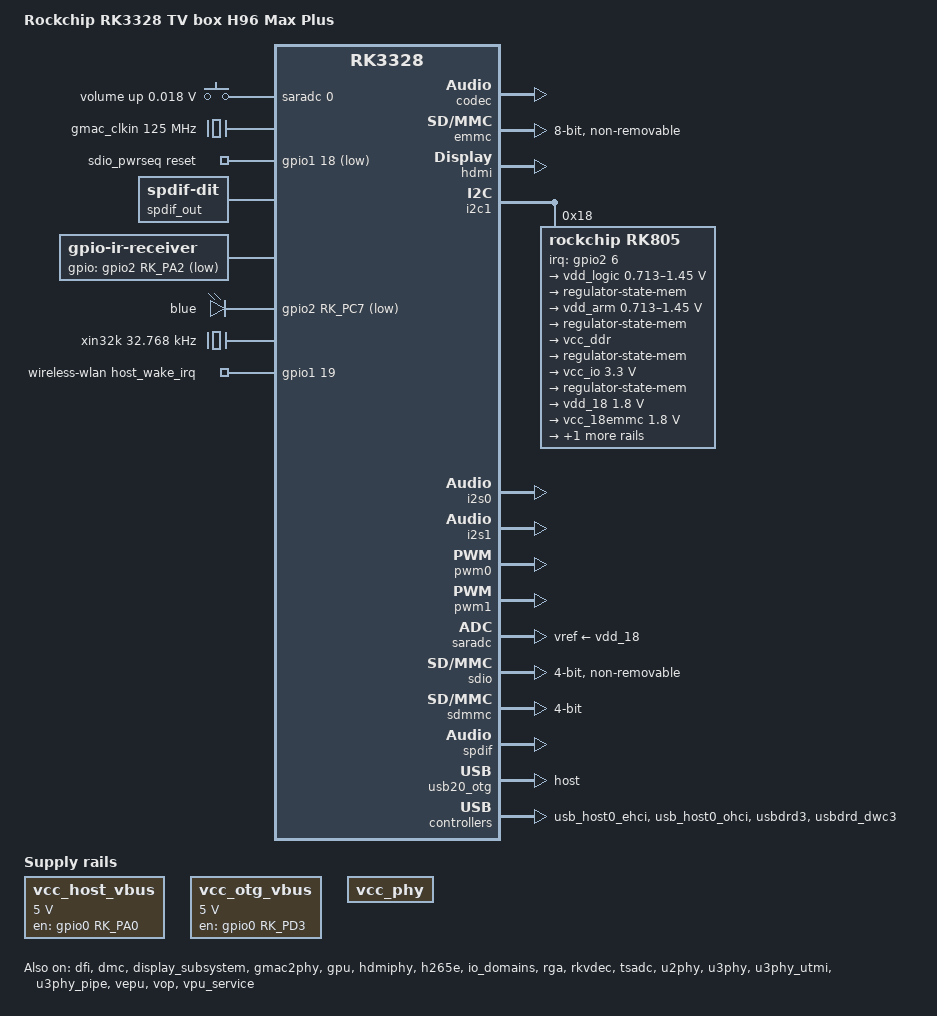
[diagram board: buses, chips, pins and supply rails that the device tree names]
/*
 * Copyright (c) 2016 Fuzhou Rockchip Electronics Co., Ltd
 *
 * This file is dual-licensed: you can use it either under the terms
 * of the GPL or the X11 license, at your option. Note that this dual
 * licensing only applies to this file, and not this project as a
 * whole.
 *
 *  a) This library is free software; you can redistribute it and/or
 *     modify it under the terms of the GNU General Public License as
 *     published by the Free Software Foundation; either version 2 of the
 *     License, or (at your option) any later version.
 *
 *     This library is distributed in the hope that it will be useful,
 *     but WITHOUT ANY WARRANTY; without even the implied warranty of
 *     MERCHANTABILITY or FITNESS FOR A PARTICULAR PURPOSE.  See the
 *     GNU General Public License for more details.
 *
 * Or, alternatively,
 *
 *  b) Permission is hereby granted, free of charge, to any person
 *     obtaining a copy of this software and associated documentation
 *     files (the "Software"), to deal in the Software without
 *     restriction, including without limitation the rights to use,
 *     copy, modify, merge, publish, distribute, sublicense, and/or
 *     sell copies of the Software, and to permit persons to whom the
 *     Software is furnished to do so, subject to the following
 *     conditions:
 *
 *     The above copyright notice and this permission notice shall be
 *     included in all copies or substantial portions of the Software.
 *
 *     THE SOFTWARE IS PROVIDED "AS IS", WITHOUT WARRANTY OF ANY KIND,
 *     EXPRESS OR IMPLIED, INCLUDING BUT NOT LIMITED TO THE WARRANTIES
 *     OF MERCHANTABILITY, FITNESS FOR A PARTICULAR PURPOSE AND
 *     NONINFRINGEMENT. IN NO EVENT SHALL THE AUTHORS OR COPYRIGHT
 *     HOLDERS BE LIABLE FOR ANY CLAIM, DAMAGES OR OTHER LIABILITY,
 *     WHETHER IN AN ACTION OF CONTRACT, TORT OR OTHERWISE, ARISING
 *     FROM, OUT OF OR IN CONNECTION WITH THE SOFTWARE OR THE USE OR
 *     OTHER DEALINGS IN THE SOFTWARE.
 */

/dts-v1/;
#include "rk3328.dtsi"
#include <dt-bindings/input/input.h>

/ {
	model = "Rockchip RK3328 TV box H96 Max Plus";
	compatible = "rockchip,rk3328-box-h96mp", "rockchip,rk3328";

	chosen {
		bootargs = "earlyprintk=uart8250-32bit,0xff130000 swiotlb=1 kpti=0 no_console_suspend=1 usbcore.autosuspend=-1";
		stdout-path = "serial2:1500000n8";
	};

	adc-keys {
		compatible = "adc-keys";
		io-channels = <&saradc 0>;
		io-channel-names = "buttons";
		poll-interval = <100>;
		keyup-threshold-microvolt = <1800000>;

		vol-up-key {
			linux,code = <KEY_VOLUMEUP>;
			label = "volume up";
			press-threshold-microvolt = <18000>;
		};
	};

	gmac_clkin: external-gmac-clock {
		compatible = "fixed-clock";
		clock-frequency = <125000000>;
		clock-output-names = "gmac_clkin";
		#clock-cells = <0>;
	};

	reserved-memory {
		#address-cells = <2>;
		#size-cells = <2>;
		ranges;

		drm_logo: drm-logo@00000000 {
			compatible = "rockchip,drm-logo";
			reg = <0x0 0x0 0x0 0x0>;
		};
	};

	sdio_pwrseq: sdio-pwrseq {
		compatible = "mmc-pwrseq-simple";
		pinctrl-names = "default";
		pinctrl-0 = <&wifi_enable_h>;

		/*
		 * On the module itself this is one of these (depending
		 * on the actual card populated):
		 * - SDIO_RESET_L_WL_REG_ON
		 * - PDN (power down when low)
		 */
		reset-gpios = <&gpio1 18 GPIO_ACTIVE_LOW>;
	};

	hdmi-sound {
		compatible = "simple-audio-card";
		simple-audio-card,format = "i2s";
		simple-audio-card,mclk-fs = <128>;
		simple-audio-card,name = "rockchip,hdmi";
		simple-audio-card,cpu {
			sound-dai = <&i2s0>;
		};
		simple-audio-card,codec {
			sound-dai = <&hdmi>;
		};
	};

	spdif-sound {
		compatible = "simple-audio-card";
		simple-audio-card,name = "rockchip,spdif";
		simple-audio-card,cpu {
			sound-dai = <&spdif>;
		};
		simple-audio-card,codec {
			sound-dai = <&spdif_out>;
		};
	};

	spdif_out: spdif-out {
		compatible = "linux,spdif-dit";
		#sound-dai-cells = <0>;
	};

	ir: ir-receiver {
		compatible = "gpio-ir-receiver";
		gpios = <&gpio2 RK_PA2 GPIO_ACTIVE_LOW>;
		pinctrl-names = "default";
		pinctrl-0 = <&ir_int>;
	};

	leds: gpio-leds {
		compatible = "gpio-leds";

		blue {
			gpios = <&gpio2 RK_PC7 GPIO_ACTIVE_LOW>;
			default-state = "on";
		};
	};

	vcc_host_vbus: host-vbus-regulator {
		compatible = "regulator-fixed";
		gpio = <&gpio0 RK_PA0 GPIO_ACTIVE_HIGH>;
		pinctrl-names = "default";
		pinctrl-0 = <&host_vbus_drv>;
		regulator-name = "vcc_host_vbus";
		regulator-min-microvolt = <5000000>;
		regulator-max-microvolt = <5000000>;
		enable-active-high;
	};

	vcc_otg_vbus: otg-vbus-regulator {
		compatible = "regulator-fixed";
		gpio = <&gpio0 RK_PD3 GPIO_ACTIVE_HIGH>;
		pinctrl-names = "default";
		pinctrl-0 = <&otg_vbus_drv>;
		regulator-name = "vcc_otg_vbus";
		regulator-min-microvolt = <5000000>;
		regulator-max-microvolt = <5000000>;
		enable-active-high;
	};

	vcc_phy: vcc-phy-regulator {
		compatible = "regulator-fixed";
		regulator-name = "vcc_phy";
		regulator-always-on;
		regulator-boot-on;
	};

	xin32k: xin32k {
		compatible = "fixed-clock";
		clock-frequency = <32768>;
		clock-output-names = "xin32k";
		#clock-cells = <0>;
	};

	wireless-wlan {
		compatible = "wlan-platdata";
		rockchip,grf = <&grf>;
		wifi_chip_type = "ap6354";
		sdio_vref = <1800>;
		WIFI,host_wake_irq = <&gpio1 19 GPIO_ACTIVE_HIGH>;
		status = "okay";
	};
};

&codec {
	#sound-dai-cells = <0>;
	status = "okay";
};

&cpu0 {
	cpu-supply = <&vdd_arm>;
};

&dfi {
	status = "okay";
};

&dmc {
	center-supply = <&vdd_logic>;
	status = "okay";

	system-status-freq = <
		SYS_STATUS_NORMAL 	786000
		SYS_STATUS_REBOOT 	786000
		SYS_STATUS_SUSPEND 	786000
		SYS_STATUS_VIDEO_1080P 	786000
		SYS_STATUS_VIDEO_4K 	786000
		SYS_STATUS_VIDEO_4K_10B	786000
		SYS_STATUS_PERFORMANCE 	786000
		SYS_STATUS_BOOST 	786000
	>;
};

&display_subsystem {
	logo-memory-region = <&drm_logo>;
	status = "okay";

	route {
		route_hdmi: route-hdmi {
			status = "okay";
			logo,uboot = "logo.bmp";
			logo,kernel = "logo_kernel.bmp";
			logo,mode = "fullscreen";
			charge_logo,mode = "fullscreen";
			connect = <&vop_out_hdmi>;
		};
	};
};

&emmc {
	bus-width = <8>;
	cap-mmc-highspeed;
	mmc-hs200-1_8v;
	supports-emmc;
	disable-wp;
	non-removable;
	num-slots = <1>;
	pinctrl-names = "default";
	pinctrl-0 = <&emmc_clk &emmc_cmd &emmc_bus8>;
	status = "okay";
};

&gmac2io {
	phy-supply = <&vcc_phy>;
	phy-mode = "rgmii";
	clock_in_out = "input";
	snps,reset-gpio = <&gpio1 RK_PC2 GPIO_ACTIVE_LOW>;
	snps,reset-active-low;
	snps,reset-delays-us = <0 10000 50000>;
	assigned-clocks = <&cru SCLK_MAC2IO>, <&cru SCLK_MAC2IO_EXT>;
	assigned-clock-parents = <&gmac_clkin>, <&gmac_clkin>;
	pinctrl-names = "default";
	pinctrl-0 = <&rgmiim1_pins>;
	tx_delay = <0x26>;
	rx_delay = <0x11>;
	status = "disabled";
};

&gmac2phy {
	phy-supply = <&vcc_phy>;
	clock_in_out = "output";
	assigned-clocks = <&cru SCLK_MAC2PHY_SRC>;
	assigned-clock-rate = <50000000>;
	assigned-clocks = <&cru SCLK_MAC2PHY>;
	assigned-clock-parents = <&cru SCLK_MAC2PHY_SRC>;
	status = "okay";
};

&gpu {
	status = "okay";
	mali-supply = <&vdd_logic>;
};

&hdmi {
	#sound-dai-cells = <0>;
	ddc-i2c-scl-high-time-ns = <9625>;
	ddc-i2c-scl-low-time-ns = <10000>;
	status = "okay";
};

&hdmiphy {
	status = "okay";
};

&i2c1 {
	status = "okay";

	rk805: rk805@18 {
		compatible = "rockchip,rk805";
		status = "okay";
		reg = <0x18>;
		interrupt-parent = <&gpio2>;
		interrupts = <6 IRQ_TYPE_LEVEL_LOW>;
		pinctrl-names = "default";
		pinctrl-0 = <&pmic_int_l>;
		rockchip,system-power-controller;
		wakeup-source;
		gpio-controller;
		#gpio-cells = <2>;
		#clock-cells = <1>;
		clock-output-names = "rk805-clkout1", "rk805-clkout2";

		rtc {
			status = "disabled";
		};

		pwrkey {
			status = "disabled";
		};

		gpio {
			status = "okay";
		};

		regulators {
			compatible = "rk805-regulator";
			status = "okay";
			#address-cells = <1>;
			#size-cells = <0>;

			vdd_logic: RK805_DCDC1 {
				regulator-compatible = "RK805_DCDC1";
				regulator-name = "vdd_logic";
				regulator-min-microvolt = <712500>;
				regulator-max-microvolt = <1450000>;
				regulator-initial-mode = <0x1>;
				regulator-ramp-delay = <12500>;
				regulator-boot-on;
				regulator-always-on;
				regulator-state-mem {
					regulator-mode = <0x2>;
					regulator-on-in-suspend;
					regulator-suspend-microvolt = <1000000>;
				};
			};

			vdd_arm: RK805_DCDC2 {
				regulator-compatible = "RK805_DCDC2";
				regulator-name = "vdd_arm";
				regulator-min-microvolt = <712500>;
				regulator-max-microvolt = <1450000>;
				regulator-initial-mode = <0x1>;
				regulator-ramp-delay = <12500>;
				regulator-boot-on;
				regulator-always-on;
				regulator-state-mem {
					regulator-mode = <0x2>;
					regulator-on-in-suspend;
					regulator-suspend-microvolt = <950000>;
				};
			};

			vcc_ddr: RK805_DCDC3 {
				regulator-compatible = "RK805_DCDC3";
				regulator-name = "vcc_ddr";
				regulator-initial-mode = <0x1>;
				regulator-boot-on;
				regulator-always-on;
				regulator-state-mem {
					regulator-mode = <0x2>;
					regulator-on-in-suspend;
				};
			};

			vcc_io: RK805_DCDC4 {
				regulator-compatible = "RK805_DCDC4";
				regulator-name = "vcc_io";
				regulator-min-microvolt = <3300000>;
				regulator-max-microvolt = <3300000>;
				regulator-initial-mode = <0x1>;
				regulator-boot-on;
				regulator-always-on;
				regulator-state-mem {
					regulator-mode = <0x2>;
					regulator-on-in-suspend;
					regulator-suspend-microvolt = <3300000>;
				};
			};

			vdd_18: RK805_LDO1 {
				regulator-compatible = "RK805_LDO1";
				regulator-name = "vdd_18";
				regulator-min-microvolt = <1800000>;
				regulator-max-microvolt = <1800000>;
				regulator-boot-on;
				regulator-always-on;
				regulator-state-mem {
					regulator-on-in-suspend;
					regulator-suspend-microvolt = <1800000>;
				};
			};

			vcc_18emmc: RK805_LDO2 {
				regulator-compatible = "RK805_LDO2";
				regulator-name = "vcc_18emmc";
				regulator-min-microvolt = <1800000>;
				regulator-max-microvolt = <1800000>;
				regulator-boot-on;
				regulator-always-on;
				regulator-state-mem {
					regulator-on-in-suspend;
					regulator-suspend-microvolt = <1800000>;
				};
			};

			vdd_11: RK805_LDO3 {
				regulator-compatible = "RK805_LDO3";
				regulator-name = "vdd_11";
				regulator-min-microvolt = <1100000>;
				regulator-max-microvolt = <1100000>;
				regulator-boot-on;
				regulator-always-on;
				regulator-state-mem {
					regulator-on-in-suspend;
					regulator-suspend-microvolt = <1100000>;
				};
			};
		};
	};
};

&h265e {
	status = "okay";
};

&i2s0 {
	#sound-dai-cells = <0>;
	rockchip,bclk-fs = <128>;
	status = "okay";
};

&i2s1 {
	#sound-dai-cells = <0>;
	status = "okay";
};

&io_domains {
	status = "okay";
};

&pinctrl {
	pmic {
		pmic_int_l: pmic-int-l {
		rockchip,pins =
			<2 RK_PA6 RK_FUNC_GPIO &pcfg_pull_up>;	/* gpio2_a6 */
		};
	};

	ir {
		ir_int: ir-int {
			rockchip,pins = <2 2 RK_FUNC_GPIO &pcfg_pull_none>;
		};
	};

	sdio-pwrseq {
		wifi_enable_h: wifi-enable-h {
		rockchip,pins =
			<1 18 RK_FUNC_GPIO &pcfg_pull_none>;
		};
	};

	usb {
		host_vbus_drv: host-vbus-drv {
			rockchip,pins =
				<0 RK_PA0 RK_FUNC_GPIO &pcfg_pull_none>;
		};

		otg_vbus_drv: otg-vbus-drv {
			rockchip,pins =
				<0 RK_PD3 RK_FUNC_GPIO &pcfg_pull_none>;
		};
	};
};

&pwm0 {
	compatible = "rockchip,rk3328-pwm";
	status = "okay";
};
&pwm1 {
	compatible = "rockchip,rk3328-pwm";
	status = "okay";
};

&rga {
	status = "okay";
};

&rkvdec {
	vcodec-supply = <&vdd_logic>;
	status = "okay";
};

&rockchip_suspend {
	status = "okay";
	rockchip,virtual-poweroff = <1>;
};

&saradc {
	status = "okay";
	vref-supply = <&vdd_18>;
};

&sdio {
	bus-width = <4>;
	cap-sd-highspeed;
	cap-sdio-irq;
	disable-wp;
	keep-power-in-suspend;
	max-frequency = <150000000>;
	mmc-pwrseq = <&sdio_pwrseq>;
	non-removable;
	num-slots = <1>;
	pinctrl-names = "default";
	pinctrl-0 = <&sdmmc1_bus4 &sdmmc1_cmd &sdmmc1_clk>;
	supports-sdio;
	status = "okay";
};

&sdmmc {
	bus-width = <4>;
	cap-mmc-highspeed;
	cap-sd-highspeed;
	disable-wp;
	//max-frequency = <150000000>;
	clock-freq-min-max = <400000 150000000>;
	num-slots = <1>;
	pinctrl-names = "default";
	pinctrl-0 = <&sdmmc0_clk &sdmmc0_cmd &sdmmc0_dectn &sdmmc0_bus4>;
	supports-sd;
	status = "okay";
};

&spdif {
	#sound-dai-cells = <0>;
	status = "okay";
};

&tsadc {
	status = "okay";
};

&u2phy {
	status = "okay";

	u2phy_host: host-port {
		status = "okay";
	};

	u2phy_otg: otg-port {
		vbus-supply = <&vcc_otg_vbus>;
		status = "okay";
	};
};

&u3phy {
	vbus-supply = <&vcc_host_vbus>;
	status = "okay";
};

&u3phy_utmi {
	status = "okay";
};

&u3phy_pipe {
	status = "okay";
};

&usb20_otg {
	status = "okay";
	dr_mode = "host";
	//g-rx-fifo-size = <275>;
	//g-tx-fifo-size = <256 128 128 64 64 32>;
};

&usb_host0_ehci {
	status = "okay";
};

&usb_host0_ohci {
	status = "okay";
};

&usbdrd3 {
	status = "okay";
};

&usbdrd_dwc3 {
	status = "okay";
};

&vepu {
	status = "okay";
};

&vop {
	status = "okay";
};

&vop_mmu {
	status = "okay";
};

&vpu_service {
	status = "okay";
};
